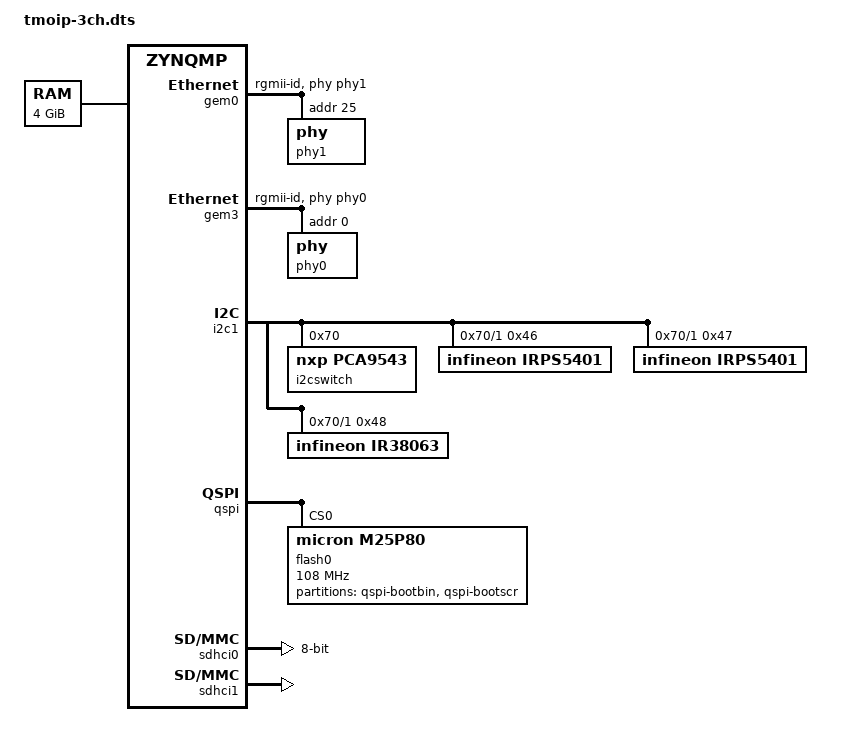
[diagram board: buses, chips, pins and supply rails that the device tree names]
/dts-v1/;
#include "zynqmp.dtsi"
#include "zynqmp-clk-ccf.dtsi"
#include "pl.dtsi"
#include "pcw.dtsi"
#include <dt-bindings/phy/phy.h>
#include <dt-bindings/net/ti-dp83867.h>
#include <dt-bindings/input/input.h>
#include <dt-bindings/gpio/gpio.h>
#include <dt-bindings/pinctrl/pinctrl-zynqmp.h>
#include <dt-bindings/interrupt-controller/irq.h>

/* From include/dt-bindings/clk/versaclock.h */
#define VC5_LVPECL   0
#define VC5_CMOS  1
#define VC5_HCSL33   2
#define VC5_LVDS  3
#define VC5_CMOS2 4
#define VC5_CMOSD 5
#define VC5_HCSL25   6

#define PLATFORM_TYPE_8_CHAN_3EG 0
#define PLATFORM_TYPE_TMOIP_3CH 1
#define PLATFORM_TYPE_TMOIP_12CH 2
#define PLATFORM_TYPE_AVNET_CC7EV 3
#define PLATFORM_TYPE_XILINX_ZCU102 4
#define PLATFORM_TYPE_TMOIP_MLSC 5
#define PLATFORM_TYPE_TMOIP_BSSA 6

/* <psgtr_phandle> <lane_number> <controller_type> <instance> <refclk> */
    
/ {
	chosen {
		bootargs = "earlycon console=ttyPS0,115200 clk_ignore_unused root=/dev/mmcblk1p2 rw rootwait";
		stdout-path = "serial0:115200n8";
	};
	aliases {
		ethernet0 = &gem3;
		ethernet1 = &gem0;
		serial0 = &uart0;
		serial1 = &uart1;
		spi0 = &qspi;
	};
	memory {
		device_type = "memory";
		reg = <0x0 0x0 0x0 0x7ff00000>, <0x00000008 0x00000000 0x0 0x80000000>;
	};
/* gtr_refclk2_usb - 52MHz - U3 */
/*
   gtr_clk2: gtr_clk2 { 
      compatible = "fixed-clock";
      #clock-cells = <0>;
      clock-frequency = <52000000>;
   };
*/    
};

&fpd_dma_chan1 {
	status = "okay";
	#dma-cells = <1>;
	xlnx,bus-width = <128>;
};

&amba_pl {
	tmoip_system: tmoip_system@800D0000 {
	   compatible = "tmoip_system-1.0";
       reg = <0x0 0x800D0000 0x0 0x10000 0x0 0xa0100000 0x0 0x10000>;
       interrupt-parent = <&gic>;
       interrupts = <0 92 1>;
       num_channels = <3>;
       platform_type = <PLATFORM_TYPE_TMOIP_3CH>;
    };
	ch0: channel@80000000 {
	      compatible = "channel-1.0";
	      clock-names = "axi_lite_aclk";
	      clocks = <&misc_clk_0>, <&misc_clk_0>;
	      reg = <0x0 0x80000000 0x0 0x10000>,
                <0x0 0x80010000 0x0 0x10000>,
                <0x0 0x80080000 0x0 0x10000>;
          reg-names = "channel_in", "channel_out", "line_test";                                        
 		  channel_number = <0>;
		  refclk_hz = <300000000>;
          pcmout_init_bitrate = <1000000>;
    };
	ch1: channel@80020000 {
	      compatible = "channel-1.0";
	      clock-names = "axi_lite_aclk";
	      clocks = <&misc_clk_0>, <&misc_clk_0>;
	      reg = <0x0 0x80020000 0x0 0x10000>,
                <0x0 0x80030000 0x0 0x10000>,
                <0x0 0x800E0000 0x0 0x10000>;
          reg-names = "channel_in", "channel_out", "line_test";                                        
 		  channel_number = <1>;
		  refclk_hz = <300000000>;
          pcmout_init_bitrate = <1000000>;
    };
	ch2: channel@80040000 {
	      compatible = "channel-1.0";
	      clock-names = "axi_lite_aclk";
	      clocks = <&misc_clk_0>, <&misc_clk_0>;
	      reg = <0x0 0x80040000 0x0 0x10000>,
                <0x0 0x80050000 0x0 0x10000>,
                <0x0 0x800F0000 0x0 0x10000>;
          reg-names = "channel_in", "channel_out", "line_test";                                        
 		  channel_number = <2>;
		  refclk_hz = <300000000>;
          pcmout_init_bitrate = <1000000>;
    };
	ch3: channel@80090000 {
	      compatible = "channel-1.0";
	      clock-names = "axi_lite_aclk";
	      clocks = <&misc_clk_0>, <&misc_clk_0>;
	      reg = <0x0 0x80090000 0x0 0x10000>,
                <0x0 0x800a0000 0x0 0x10000>,
                <0x0 0x800b0000 0x0 0x10000>;
          reg-names = "channel_in", "channel_out", "line_test";                                        
 		  channel_number = <3>;
		  refclk_hz = <300000000>;
          pcmout_init_bitrate = <1000000>;
    };
	clocktrack0: clocktrack@80060000 {
	      compatible = "clocktrack-1.0";
	      clock-names = "axi_lite_aclk";
	      clocks = <&misc_clk_0>, <&misc_clk_0>;
     	  reg = <0x0 0x80060000 0x0 0x10000>;
		  refclk_hz = <300000000>;
	      setpointcenter = <250000>;
	      setpointoffset = <50000>;
	      mincenter = <1500>;
	      minoffset = <300>;
    };
    dma_central0: dma_central@80070000 {
          compatible = "dma_central-1.0";
	      clock-names = "axi_lite_aclk", "axis_in_aclk";
          clocks = <&misc_clk_0>, <&misc_clk_0>;
          interrupt-parent = <&gic>;
          interrupts = <0 89 1>;
          reg = <0x0 0x80070000 0x0 0x1000 0x0 0xa0000000 0x0 0x100000>;
          start_channel = <0>;
          num_channels = <4>;
          int_retry_cnt = <500000>;
          dmas = <&fpd_dma_chan1 0>;
          dma-names = "dma";
	};
};

&gpio {
	status = "okay";
};

/* non-som */
&gem0 {
	status = "okay";
	local-mac-address = [00 0a 35 00 02 90];
	phy-mode = "rgmii-id";
	xlnx,ptp-enet-clock = <0x0>;
	phy-handle = <&phy1>;
	phy1: phy@19 {
		reg = <0x19>;
        ti,rx-internal-delay = <DP83867_RGMIIDCTL_2_25_NS>;
		ti,tx-internal-delay = <DP83867_RGMIIDCTL_2_25_NS>;
		ti,fifo-depth = <0x1>;
	};
};

&gem3 {
	phy-mode = "rgmii-id";
	status = "okay";
	xlnx,ptp-enet-clock = <0x0>;
	local-mac-address = [00 0a 35 00 02 91];
	phy-mode = "rgmii-id";
	phy-handle = <&phy0>;
	phy0: phy@0 {
		reg = <0x0>;
		ti,rx-internal-delay = <0x5>;
		ti,tx-internal-delay = <0x5>;
		ti,fifo-depth = <0x1>;
	};
};

&i2c1 {
   i2cswitch@70 { /* U7 on UZ3EG SOM, U8 on UZ7EV SOM */
      compatible = "nxp,pca9543";
      #address-cells = <1>;
      #size-cells = <0>;
      reg = <0x70>;
      i2c@0 { /* i2c mw 70 0 1 */
         #address-cells = <1>;
         #size-cells = <0>;
         reg = <0>;
      };

      i2c@1 {
         #address-cells = <0x1>;
         #size-cells = <0x0>;
         reg = <0x1>;

         irps5401@46 { /* IRPS5401 - U24 on UZ7EV SOM*/
            compatible = "infineon,irps5401";
            reg = <0x46>;
         };

         irps5401@47 { /* IRPS5401 - U25 on UZ7EV SOM*/
            compatible = "infineon,irps5401";
            reg = <0x47>;
         };

         ir38063@48 { /* IR38063 - U26 on UZ7EV SOM*/
            compatible = "infineon,ir38063";
            reg = <0x48>;
         };
      };
   };
};

&qspi {
   #address-cells = <1>;
   #size-cells = <0>;
   status = "okay";
   is-dual = <1>; /* Set for dual-parallel QSPI config */
   num-cs = <2>;
   xlnx,fb-clk = <0x1>;
   flash0: flash@0 {
      /* The Flash described below doesn't match our board ("micron,n25qu256a"), but is needed */
      /* so the Flash MTD partitions are correctly identified in /proc/mtd */
      compatible = "micron,m25p80","jedec,spi-nor"; /* 32MB */
      #address-cells = <1>;
      #size-cells = <1>;
      reg = <0x0>;
      spi-tx-bus-width = <1>;
      spi-rx-bus-width = <4>; /* FIXME also DUAL configuration possible */
      spi-max-frequency = <108000000>; /* Set to 108000000 Based on DC1 spec */
      /* MTD Partitioning:
       *   Boot.bin needs at least 20MB
       *   boot.scr must go at 0x3E80000
       */
      partition@qspi-bootbin {
	      label = "qspi-bootbin";
	      reg = <0x0 0x2000000>;
      };
      partition@qspi-bootscr {
	      label = "qspi-bootscr";
	      reg = <0x3E80000 0x80000>;
      };
   };
};

/* SD0 eMMC, 8-bit wide data bus */
&sdhci0 {
   status = "okay";
   bus-width = <8>;
   max-frequency = <50000000>;
};

/* SD1 with level shifter */
&sdhci1 {
   status = "okay";
   disable-wp;
   max-frequency = <50000000>;
   no-1-8-v;   /* for 1.0 silicon */
};
/*
&psgtr {
   clocks = <&gtr_clk2>;
   clock-names = "ref0";
};

&usb0 {
      status = "okay";
};
&dwc3_0 {
	status = "okay";
	dr_mode = "host";
    maximum-speed = "super-speed"; 
    snps,usb3_lpm_capable; 
    snps,enable_auto_retry; 
    phy-names = "usb3-phy"; 
    phys = <&psgtr 2 PHY_TYPE_USB3 0 0>;
};
*/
